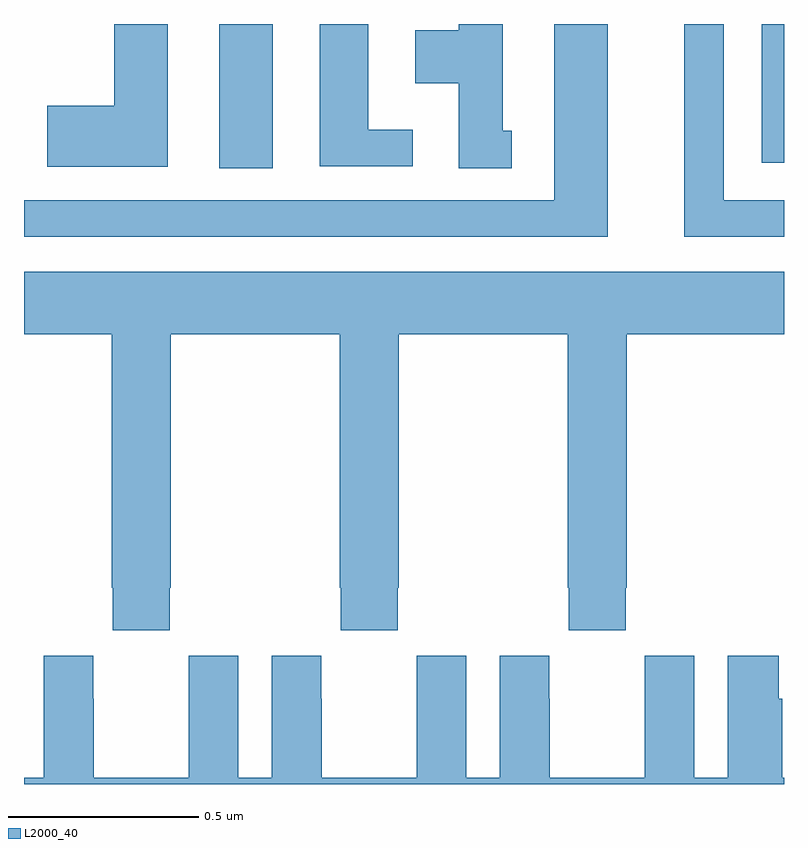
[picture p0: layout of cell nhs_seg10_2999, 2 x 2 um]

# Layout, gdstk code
import gdstk
lib = gdstk.Library(unit=1e-6, precision=1e-09)
def R(c, l, rs):  # rectangles x0, y0, x1, y1
    for r in rs: c.add(gdstk.rectangle(r[:2], r[2:], *l))
def P(c, l, *ps):  # polygons
    for p in ps: c.add(gdstk.Polygon(p, *l))
L2000_40 = (2000, 40)

nhs_seg10_2999 = lib.new_cell('nhs_seg10_2999')
R(nhs_seg10_2999, L2000_40, [(148.514,1266.121,148.654,1266.5), (149.942,1266.135,150,1266.5)])
P(nhs_seg10_2999, L2000_40, [(150,1266.036),(149.842,1266.036),(149.842,1266.5),(149.738,1266.5),(149.738,1265.94),(150,1265.94)],
  [(148.378,1266.5),(148.238,1266.5),(148.238,1266.285),(148.061,1266.285),(148.061,1266.125),(148.378,1266.125)],
  [(149.284,1266.219),(149.26,1266.219),(149.26,1266.5),(149.144,1266.5),(149.144,1266.484),(149.03,1266.484),(149.03,1266.344),(149.144,1266.344),(149.144,1266.121),(149.284,1266.121)],
  [(149.536,1266.5),(149.396,1266.5),(149.396,1266.036),(148,1266.036),(148,1265.94),(149.536,1265.94)],
  [(149.023,1266.222),(148.906,1266.222),(148.906,1266.5),(148.778,1266.5),(148.778,1266.126),(149.023,1266.126)],
  [(148,1265.684),(148.231,1265.684),(148.231,1265.017),(148.233,1265.017),(148.233,1264.905),(148.383,1264.905),(148.383,1265.017),(148.386,1265.017),(148.386,1265.684),(148.831,1265.684),(148.831,1265.017),(148.833,1265.017),(148.833,1264.905),(148.983,1264.905),(148.983,1265.017),(148.986,1265.017),(148.986,1265.684),(149.431,1265.684),(149.431,1265.017),(149.433,1265.017),(149.433,1264.905),(149.583,1264.905),(149.583,1265.017),(149.586,1265.017),(149.586,1265.684),(150,1265.684),(150,1265.848),(148,1265.848)],
  [(150,1264.516),(149.996,1264.516),(149.996,1264.724),(149.986,1264.724),(149.986,1264.837),(149.852,1264.837),(149.852,1264.516),(149.764,1264.516),(149.764,1264.837),(149.634,1264.837),(149.634,1264.724),(149.633,1264.724),(149.633,1264.516),(149.383,1264.516),(149.383,1264.724),(149.382,1264.724),(149.382,1264.837),(149.252,1264.837),(149.252,1264.516),(149.164,1264.516),(149.164,1264.837),(149.034,1264.837),(149.034,1264.724),(149.033,1264.724),(149.033,1264.516),(148.783,1264.516),(148.783,1264.724),(148.782,1264.724),(148.782,1264.837),(148.652,1264.837),(148.652,1264.516),(148.564,1264.516),(148.564,1264.837),(148.434,1264.837),(148.434,1264.724),(148.433,1264.724),(148.433,1264.516),(148.183,1264.516),(148.183,1264.724),(148.182,1264.724),(148.182,1264.837),(148.052,1264.837),(148.052,1264.516),(148,1264.516),(148,1264.5),(150,1264.5)])

lib.write_gds('nhs_seg10_2999.gds')
